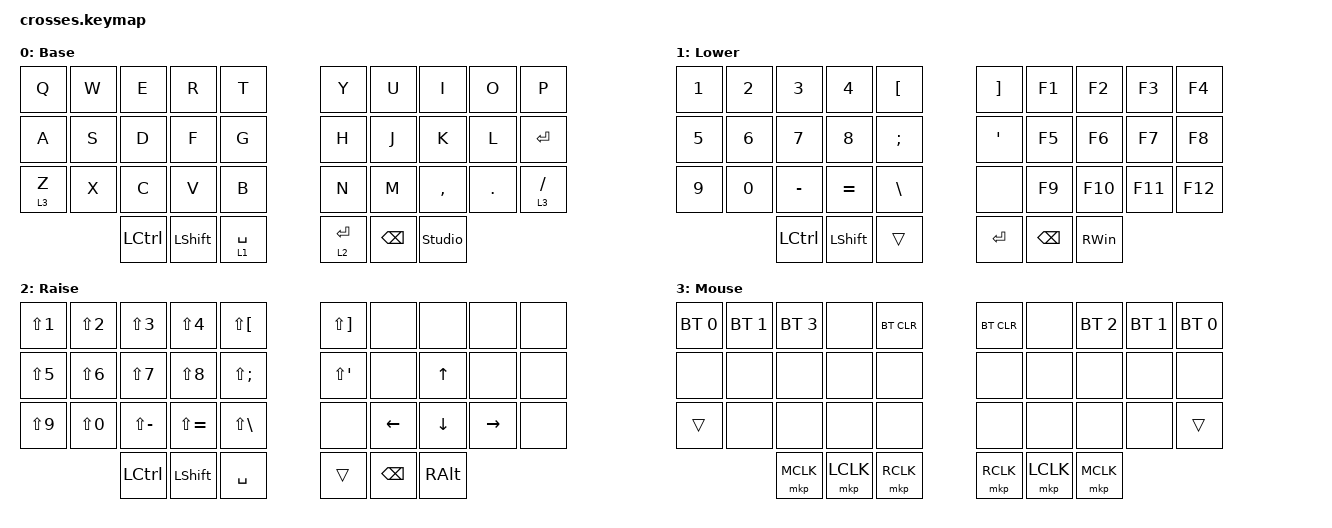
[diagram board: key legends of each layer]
#include <behaviors.dtsi>
#include <dt-bindings/zmk/bt.h>
#include <dt-bindings/zmk/keys.h>
#include <dt-bindings/zmk/pointing.h>

/ {
    chosen { zmk,physical-layout = &gggw_crosses_36_layout; };

    behaviors {
        as: auto_shift {
            compatible = "zmk,behavior-hold-tap";
            #binding-cells = <2>;
            tapping_term_ms = <200>;
            quick_tap_ms = <0>;
            flavor = "tap-preferred";
            bindings = <&kp>, <&kp>;
        };
    };

    combos {
        compatible = "zmk,combos";

        esc {
            bindings = <&kp ESCAPE>;
            key-positions = <0 1>;
        };
    };

    keymap {
        compatible = "zmk,keymap";

        default_layer {
            display-name = "Base";
            bindings = <
&kp Q    &kp W  &kp E      &kp R           &kp T        &kp Y        &kp U          &kp I           &kp O    &kp P
&kp A    &kp S  &kp D      &kp F           &kp G        &kp H        &kp J          &kp K           &kp L    &kp ENTER
&lt 3 Z  &kp X  &kp C      &kp V           &kp B        &kp N        &kp M          &kp COMMA       &kp DOT  &lt 3 SLASH
                &kp LCTRL  &kp LEFT_SHIFT  &lt 1 SPACE  &lt 2 ENTER  &kp BACKSPACE  &studio_unlock
            >;
        };

        lower_layer {
            display-name = "Lower";
            bindings = <
&kp NUMBER_1  &kp NUMBER_2  &kp NUMBER_3  &kp NUMBER_4    &kp LEFT_BRACKET  &kp RIGHT_BRACKET  &kp F1         &kp F2         &kp F3   &kp F4
&kp NUMBER_5  &kp NUMBER_6  &kp NUMBER_7  &kp NUMBER_8    &kp SEMICOLON     &kp SQT            &kp F5         &kp F6         &kp F7   &kp F8
&kp NUMBER_9  &kp NUMBER_0  &kp MINUS     &kp EQUAL       &kp BACKSLASH     &none              &kp F9         &kp F10        &kp F11  &kp F12
                            &kp LCTRL     &kp LEFT_SHIFT  &trans            &kp ENTER          &kp BACKSPACE  &kp RIGHT_WIN
            >;
        };

        raise_layer {
            display-name = "Raise";
            bindings = <
&kp LS(N1)  &kp LS(N2)  &kp LS(N3)     &kp LS(N4)      &kp LS(LEFT_BRACKET)  &kp LS(RIGHT_BRACKET)  &none           &none           &none            &none
&kp LS(N5)  &kp LS(N6)  &kp LS(N7)     &kp LS(N8)      &kp LS(SEMICOLON)     &kp LS(SQT)            &none           &kp UP_ARROW    &none            &none
&kp LS(N9)  &kp LS(N0)  &kp LS(MINUS)  &kp LS(EQUAL)   &kp LS(BACKSLASH)     &none                  &kp LEFT_ARROW  &kp DOWN_ARROW  &kp RIGHT_ARROW  &none
                        &kp LCTRL      &kp LEFT_SHIFT  &kp SPACE             &trans                 &kp BACKSPACE   &kp RIGHT_ALT
            >;
        };

        mouse_layer {
            display-name = "Mouse";
            bindings = <
&bt BT_SEL 0  &bt BT_SEL 1  &bt BT_SEL 3  &none      &bt BT_CLR  &bt BT_CLR  &none      &bt BT_SEL 2  &bt BT_SEL 1  &bt BT_SEL 0
&none         &none         &none         &none      &none       &none       &none      &none         &none         &none
&trans        &none         &none         &none      &none       &none       &none      &none         &none         &trans
                            &mkp MCLK     &mkp LCLK  &mkp RCLK   &mkp RCLK   &mkp LCLK  &mkp MCLK
            >;
        };
    };
};
